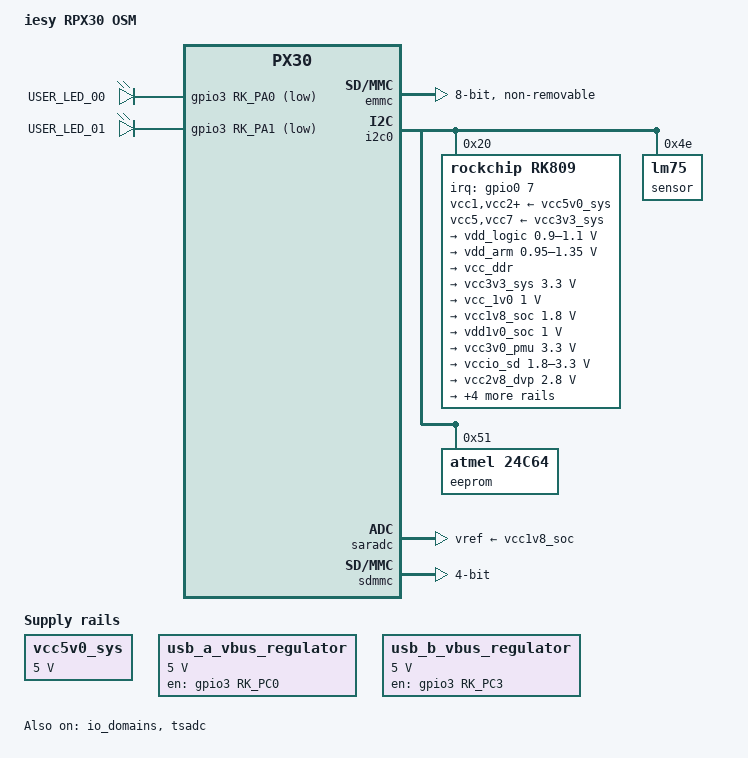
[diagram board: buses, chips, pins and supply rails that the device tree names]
// SPDX-License-Identifier: (GPL-2.0+ OR MIT)
/*
 * Device Tree for iesy RPX30 EVA-MI (Eval Kit)
 *
 * Copyright (c) 2022 iesy GmbH
 */

#include <dt-bindings/gpio/gpio.h>
#include <dt-bindings/pinctrl/rockchip.h>

#include <arm64/rockchip/px30.dtsi>

/ {
	model = "iesy RPX30 OSM";
	compatible = "iesy,rpx30-osm", "rockchip,px30";

	aliases {
		mmc0 = &sdmmc;
		mmc1 = &emmc;
		mmc2 = &sdio;
	};

        chosen {
        	stdout-path = &uart2;
        };

	vcc5v0_sys: vcc5v0-regulator {
		compatible = "regulator-fixed";
		regulator-name = "vcc5v0_sys";
		regulator-always-on;
		regulator-boot-on;
		regulator-min-microvolt = <5000000>;
		regulator-max-microvolt = <5000000>;
	};

	/* regulator for USB OTG port */
	usb_a_vbus_regulator: usb-a-vbus-regulator {
		compatible = "regulator-fixed";
		regulator-name = "usb_a_vbus_regulator";
		regulator-min-microvolt = <5000000>;
		regulator-max-microvolt = <5000000>;
		gpio = <&gpio3 RK_PC0 GPIO_ACTIVE_HIGH>;
		enable-active-high;
	};

	/* regulator for USB host port */
	usb_b_vbus_regulator: usb-b-vbus-regulator {
		compatible = "regulator-fixed";
		regulator-name = "usb_b_vbus_regulator";
		regulator-min-microvolt = <5000000>;
		regulator-max-microvolt = <5000000>;
		gpio = <&gpio3 RK_PC3 GPIO_ACTIVE_HIGH>;
		enable-active-high;
		regulator-always-on;
		regulator-boot-on;
	};

	leds {
		compatible = "gpio-leds";
		pinctrl-names = "default";
		pinctrl-0 = <&pinctrl_leds_bb138>;

		/* green user led (LD4) on BB138 */
		led-0 {
			label = "USER_LED_00";
			gpios = <&gpio3 RK_PA0 GPIO_ACTIVE_LOW>;
			linux,default-trigger = "heartbeat";
		};

		/* yellow user led (LD9)) on BB138 */
		led-1 {
			label = "USER_LED_01";
			gpios = <&gpio3 RK_PA1 GPIO_ACTIVE_LOW>;
			default-state = "off";
		};
	};
};

&cpu0 {
	cpu-supply = <&vdd_arm>;
};

/* eMMC on CM006 */
&emmc {
	bus-width = <8>;
	cap-mmc-highspeed;
	/* mmc-ddr-1_8v; */
	mmc-hs200-1_8v;
	supports-emmc;
	disable-wp;
	non-removable;
	num-slots = <1>;
	status = "okay";
};

&i2c0 {
	status = "okay";

	rk809: pmic@20 {
		compatible = "rockchip,rk809";
		reg = <0x20>;
		interrupt-parent = <&gpio0>;
		interrupts = <7 IRQ_TYPE_LEVEL_LOW>;
		pinctrl-names = "default";
		pinctrl-0 = <&pmic_int>;
		rockchip,system-power-controller;
		wakeup-source;
		#clock-cells = <1>;
		clock-output-names = "rk808-clkout1", "rk808-clkout2";
		//fb-inner-reg-idxs = <2>;
		/* 1: rst regs (default in codes), 0: rst the pmic */
		pmic-reset-func = <1>;

		vcc1-supply = <&vcc5v0_sys>;
		vcc2-supply = <&vcc5v0_sys>;
		vcc3-supply = <&vcc5v0_sys>;
		vcc4-supply = <&vcc5v0_sys>;
		vcc5-supply = <&vcc3v3_sys>;
		vcc6-supply = <&vcc5v0_sys>;
		vcc7-supply = <&vcc3v3_sys>;
		vcc8-supply = <&vcc5v0_sys>;
		vcc9-supply = <&vcc5v0_sys>;

		pwrkey {
			status = "okay";
		};

		pinctrl_rk8xx: pinctrl_rk8xx {
			gpio-controller;
			#gpio-cells = <2>;

			rk817_slppin_null: rk817_slppin_null {
				pins = "gpio_slp";
				function = "pin_fun0";
			};

			rk817_slppin_slp: rk817_slppin_slp {
				pins = "gpio_slp";
				function = "pin_fun1";
			};

			rk817_slppin_pwrdn: rk817_slppin_pwrdn {
				pins = "gpio_slp";
				function = "pin_fun2";
			};

			rk817_slppin_rst: rk817_slppin_rst {
				pins = "gpio_slp";
				function = "pin_fun3";
			};
		};

		regulators {
			vdd_logic: DCDC_REG1 {
				regulator-always-on;
				regulator-boot-on;
				regulator-min-microvolt = <900000>;
				regulator-max-microvolt = <1100000>;
				regulator-ramp-delay = <6001>;
				regulator-initial-mode = <0x2>;
				regulator-name = "vdd_logic";
				regulator-state-mem {
					regulator-on-in-suspend;
					regulator-suspend-microvolt = <950000>;
				};
			};

			vdd_arm: DCDC_REG2 {
				regulator-always-on;
				regulator-boot-on;
				regulator-min-microvolt = <950000>;
				regulator-max-microvolt = <1350000>;
				regulator-ramp-delay = <6001>;
				regulator-initial-mode = <0x2>;
				regulator-name = "vdd_arm";
				regulator-state-mem {
					regulator-off-in-suspend;
					regulator-suspend-microvolt = <950000>;
				};
			};

			vcc_ddr: DCDC_REG3 {
				regulator-always-on;
				regulator-boot-on;
				regulator-name = "vcc_ddr";
				regulator-initial-mode = <0x2>;
				regulator-state-mem {
					regulator-on-in-suspend;
				};
			};

			vcc3v3_sys: DCDC_REG5 {
				regulator-always-on;
				regulator-boot-on;
				regulator-min-microvolt = <3300000>;
				regulator-max-microvolt = <3300000>;
				regulator-name = "vcc3v3_sys";
				regulator-state-mem {
					regulator-on-in-suspend;
					regulator-suspend-microvolt = <3300000>;
				};
			};

			vcc_1v0: LDO_REG1 {
				regulator-always-on;
				regulator-boot-on;
				regulator-min-microvolt = <1000000>;
				regulator-max-microvolt = <1000000>;
				regulator-name = "vcc_1v0";
				regulator-state-mem {
					regulator-on-in-suspend;
					regulator-suspend-microvolt = <1000000>;
				};
			};

			vcc1v8_soc: LDO_REG2 {
				regulator-always-on;
				regulator-boot-on;
				regulator-min-microvolt = <1800000>;
				regulator-max-microvolt = <1800000>;

				regulator-name = "vcc1v8_soc";
				regulator-state-mem {
					regulator-on-in-suspend;
					regulator-suspend-microvolt = <1800000>;
				};
			};

			vdd1v0_soc: LDO_REG3 {
				regulator-always-on;
				regulator-boot-on;
				regulator-min-microvolt = <1000000>;
				regulator-max-microvolt = <1000000>;

				regulator-name = "vcc1v0_soc";
				regulator-state-mem {
					regulator-on-in-suspend;
					regulator-suspend-microvolt = <1000000>;
				};
			};

			vcc3v0_pmu: LDO_REG4 {
				regulator-always-on;
				regulator-boot-on;
				regulator-min-microvolt = <3300000>;
				regulator-max-microvolt = <3300000>;

				regulator-name = "vcc3v0_pmu";
				regulator-state-mem {
					regulator-on-in-suspend;
					regulator-suspend-microvolt = <3300000>;

				};
			};

			vccio_sd: LDO_REG5 {
				regulator-always-on;
				regulator-boot-on;
				regulator-min-microvolt = <1800000>;
				regulator-max-microvolt = <3300000>;

				regulator-name = "vccio_sd";
				regulator-state-mem {
					regulator-on-in-suspend;
					regulator-suspend-microvolt = <3300000>;
				};
			};

			vcc2v8_dvp: LDO_REG7 {
				regulator-min-microvolt = <2800000>;
				regulator-max-microvolt = <2800000>;

				regulator-name = "vcc2v8_dvp";
				regulator-state-mem {
					regulator-off-in-suspend;
					regulator-suspend-microvolt = <2800000>;
				};
			};

			vcc1v8_dvp: LDO_REG8 {
				regulator-always-on;
				regulator-boot-on;
				regulator-min-microvolt = <1800000>;
				regulator-max-microvolt = <1800000>;

				regulator-name = "vcc1v8_dvp";
				regulator-state-mem {
					regulator-on-in-suspend;
					regulator-suspend-microvolt = <1800000>;
				};
			};

			vdd1v5_dvp: LDO_REG9 {
				regulator-min-microvolt = <1500000>;
				regulator-max-microvolt = <1500000>;

				regulator-name = "vdd1v5_dvp";
				regulator-state-mem {
					regulator-off-in-suspend;
					regulator-suspend-microvolt = <1500000>;
				};
			};

			vcc5v0_host: SWITCH_REG1 {
				regulator-name = "vcc5v0_host";
			};

			vcc3v3_lcd: SWITCH_REG2 {
				regulator-name = "vcc3v3_lcd";
			};
		};
	};

	/* LM75 sensor on BB138 */
	sensor@4e {
		status = "okay";
		compatible = "lm75";
		reg = <0x4e>;
	};

	/* EEPROM on BB138 */
	eeprom@51 {
		status = "okay";
		compatible = "atmel,24c64";
		reg = <0x51>;
		pagesize = <32>;
	};
};

&io_domains {
	status = "okay";

	vccio1-supply = <&vcc1v8_dvp>;
	vccio2-supply = <&vccio_sd>;
	vccio3-supply = <&vcc1v8_dvp>;
	vccio4-supply = <&vcc1v8_dvp>;
	vccio5-supply = <&vcc1v8_dvp>;
	vccio6-supply = <&vcc1v8_soc>;
	pmuio1-supply = <&vcc3v0_pmu>;
	pmuio2-supply = <&vcc1v8_soc>;
};

&pmu_io_domains {
	status = "okay";

	pmuio1-supply = <&vcc3v0_pmu>;
	pmuio2-supply = <&vcc1v8_soc>;
};

&saradc {
	vref-supply = <&vcc1v8_soc>;
};

&sdmmc {
	bus-width = <4>;
	cap-mmc-highspeed;
	cap-sd-highspeed;
	supports-sd;
	card-detect-delay = <800>;
	ignore-pm-notify;
	/*cd-gpios = <&gpio2 4 GPIO_ACTIVE_HIGH>; [> CD GPIO <]*/
	sd-uhs-sdr12;
	sd-uhs-sdr25;
	sd-uhs-sdr50;
	sd-uhs-sdr104;
	max-frequency = <135000000>;
};

/* used for reading gpu temperature */
&tsadc {
	pinctrl-names = "gpio", "otpout";
	pinctrl-0 = <&tsadc_otp_gpio>;
	pinctrl-1 = <&tsadc_otp_out>;
	status = "okay";
};

&u2phy_host {
	phy-supply = <&vcc3v0_pmu>;
	vbus-supply = <&usb_b_vbus_regulator>;
	pinctrl-0 = <&u2phy_host_pin>;
};

&u2phy_otg {
	phy-supply = <&vcc3v0_pmu>;
	vbus-supply = <&usb_a_vbus_regulator>;
	pinctrl-0 = <&u2phy_otg_pin>;
};

&spi1 {
	cs-gpios = <&gpio3 RK_PB0 GPIO_ACTIVE_LOW>;
};

/*
 * Inserted to avoid error messages
 * "Looking up ...-supply property in node /power-management@ff000000/power-controller failed"
 * @MAS: Are the specified power domains correct?
 */
&power {
	pd_vi-supply = <&vdd_logic>;
	pd_vpu-supply = <&vdd_logic>;
	pd_gpu-supply = <&vdd_logic>;
	pd_usb-supply = <&vdd_logic>;
};

&pinctrl {
	pmic {
		pmic_int: pmic_int {
			rockchip,pins =
				<0 RK_PA7 RK_FUNC_GPIO &pcfg_pull_up>;
		};
	};

	leds {
		pinctrl_leds_bb138: pinctrl-leds-bb138 {
			rockchip,pins =
				<3 RK_PA0 RK_FUNC_GPIO &pcfg_pull_none>,
				<3 RK_PA1 RK_FUNC_GPIO &pcfg_pull_none>;
		};
	};

	uart0 {
		uart0_xfer: uart0-xfer {
			rockchip,pins =
				<0 RK_PB2 1 &pcfg_pull_none_2ma>,
				<0 RK_PB3 1 &pcfg_pull_up>;
		};

		uart0_rts: uart0-rts {
			rockchip,pins =
				<0 RK_PB5 1 &pcfg_pull_none_2ma>;
		};
	};

	uart1 {
		uart1_xfer: uart1-xfer {
			rockchip,pins =
				<1 RK_PC1 1 &pcfg_pull_none_2ma>,
				<1 RK_PC0 1 &pcfg_pull_up>;
		};

		uart1_rts: uart1-rts {
			rockchip,pins =
				<1 RK_PC3 1 &pcfg_pull_none_2ma>;
		};
	};

	uart2-m1 {
		uart2m1_xfer: uart2m1-xfer {
			rockchip,pins =
				<2 RK_PB4 2 &pcfg_pull_up>,
				<2 RK_PB6 2 &pcfg_pull_up_2ma>;
		};
	};

	gpio_bb138 {
		pinctrl_gpio_a: pinctrl-gpio-a {
			rockchip,pins =
				<1 RK_PC4 RK_FUNC_GPIO &pcfg_pull_none>,
				<1 RK_PC5 RK_FUNC_GPIO &pcfg_pull_up_4ma>,
				<1 RK_PC6 RK_FUNC_GPIO &pcfg_pull_up_4ma>,
				<1 RK_PC7 RK_FUNC_GPIO &pcfg_pull_up_4ma>,
				<1 RK_PD0 RK_FUNC_GPIO &pcfg_pull_up_4ma>,
				<1 RK_PD1 RK_FUNC_GPIO &pcfg_pull_up_4ma>,
				<3 RK_PD0 RK_FUNC_GPIO &pcfg_pull_none>,
				<3 RK_PD1 RK_FUNC_GPIO &pcfg_pull_none>;
		};

		pinctrl_gpio_b: pinctrl-gpio-b {
			rockchip,pins =
				<3 RK_PA0 RK_FUNC_GPIO &pcfg_pull_none_2ma>,
				<3 RK_PA1 RK_FUNC_GPIO &pcfg_pull_none_2ma>,
				<3 RK_PA2 RK_FUNC_GPIO &pcfg_pull_up_2ma>,
				<3 RK_PA3 RK_FUNC_GPIO &pcfg_pull_up_2ma>,
				<3 RK_PA4 RK_FUNC_GPIO &pcfg_pull_up_2ma>,
				<3 RK_PA5 RK_FUNC_GPIO &pcfg_pull_up_2ma>,
				<3 RK_PA6 RK_FUNC_GPIO &pcfg_pull_up_2ma>,
				<3 RK_PA7 RK_FUNC_GPIO &pcfg_pull_up_2ma>;
		};
	};

	pwm1 {
		pwm1_pin: pwm1-pin {
			rockchip,pins =
				<0 RK_PC0 1 &pcfg_pull_none_2ma>;
		};
	};

	pwm2 {
		pwm2_pin: pwm2-pin {
			rockchip,pins =
				<2 RK_PB5 1 &pcfg_pull_none_2ma>;
		};
	};

	pwm3 {
		pwm3_pin: pwm3-pin {
			rockchip,pins =
				<0 RK_PC1 1 &pcfg_pull_none_2ma>;
		};
	};

	spi1 {
		/* spi1.sdo */
		spi1_mosi: spi1-mosi {
			rockchip,pins =
				<3 RK_PB4 4 &pcfg_pull_none>;
		};

		/* spi1.csn PIN E17 used! */
		spi1_csn: spi1-csn {
			rockchip,pins =
				<3 RK_PB0 4 &pcfg_pull_none>;
		};

		spi1_clk: spi1-clk {
			rockchip,pins =
				<3 RK_PB7 4 &pcfg_pull_none>;
		};
	};

	u2phy {
		u2phy_host_pin: host-port {
			rockchip,pins =
				<3 RK_PC3 1 &pcfg_pull_none_4ma>;
		};

		u2phy_otg_pin: otg-port {
			rockchip,pins =
				<3 RK_PC0 1 &pcfg_pull_none_4ma>;
		};
	};
};

/* DON'T PUT ANYTHING BELOW HERE.  PUT IT ABOVE PINCTRL */
